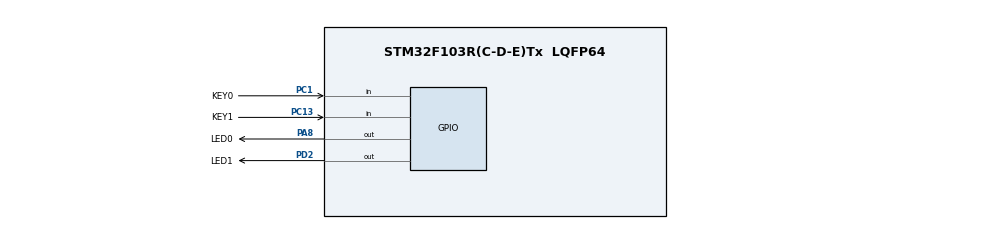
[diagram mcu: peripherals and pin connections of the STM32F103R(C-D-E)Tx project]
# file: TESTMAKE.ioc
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Mcu.Family=STM32F1
Mcu.Name=STM32F103R(C-D-E)Tx
Mcu.Package=LQFP64
NVIC.PriorityGroup=NVIC_PRIORITYGROUP_4
PA13.Mode=Serial_Wire
PA13.Signal=SYS_JTMS-SWDIO
PA14.Mode=Serial_Wire
PA14.Signal=SYS_JTCK-SWCLK
PA8.GPIO_Label=LED0
PA8.Signal=GPIO_Output
PC1.GPIO_Label=KEY0
PC1.GPIO_PuPd=GPIO_PULLUP
PC1.Signal=GPIO_Input
PC13-TAMPER-RTC.GPIO_Label=KEY1
PC13-TAMPER-RTC.GPIO_PuPd=GPIO_PULLUP
PC13-TAMPER-RTC.Signal=GPIO_Input
PD2.GPIO_Label=LED1
PD2.Signal=GPIO_Output
ProjectManager.HeapSize=0x200
ProjectManager.StackSize=0x400
ProjectManager.TargetToolchain=Makefile
RCC.APB1Freq_Value=8000000
RCC.APB2Freq_Value=8000000
RCC.USBFreq_Value=8000000
board=custom

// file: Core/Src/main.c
/* USER CODE BEGIN Header */
/**
  ******************************************************************************
  * @file           : main.c
  * @brief          : Main program body
  ******************************************************************************
  * @attention
  *
  * <h2><center>&copy; Copyright (c) 2021 STMicroelectronics.
  * All rights reserved.</center></h2>
  *
  * This software component is licensed by ST under BSD 3-Clause license,
  * the "License"; You may not use this file except in compliance with the
  * License. You may obtain a copy of the License at:
  *                        opensource.org/licenses/BSD-3-Clause
  *
  ******************************************************************************
  */
/* USER CODE END Header */
#include "main.h"

/* USER CODE BEGIN Includes */
#define LED0_Port GPIOA //port PA8, LED0
#define LED0_Pin GPIO_PIN_8

#define LED1_Port GPIOD //port PD2, LED1
#define LED1_Pin GPIO_PIN_2

#define KEY0_Port GPIOC //port PC1, KEY0
#define KEY0_Pin GPIO_PIN_1

#define KEY1_Port GPIOC //PC13, KEY1
#define KEY1_PiN GPIO_PIN13
/* USER CODE END Includes */

void SystemClock_Config(void);
static void MX_GPIO_Init(void);

int main(void)
{

  /* MCU Configuration--------------------------------------------------------*/

  /* Reset of all peripherals, Initializes the Flash interface and the Systick. */
  HAL_Init();

  /* Configure the system clock */
  SystemClock_Config();

  /* Initialize all configured peripherals */
  MX_GPIO_Init();

  /* Infinite loop */
  while (1)
  {
    /* USER CODE BEGIN 3 */
    int StatusKey0 = HAL_GPIO_ReadPin(KEY0_Port, KEY0_Pin);
    int StatusKey1 = HAL_GPIO_ReadPin(KEY1_Port, KEY1_Pin);
    // nhấn nút key0 led D0 sáng
    HAL_GPIO_WritePin(LED1_Port, LED1_Pin, SET);
    HAL_GPIO_WritePin(LED0_Port, LED0_Pin, SET);
    HAL_Delay(100);
    HAL_GPIO_WritePin(LED1_Port, LED1_Pin, RESET);
    HAL_GPIO_WritePin(LED0_Port, LED0_Pin, RESET);
    HAL_Delay(100);
   /* if (StatusKey0 == 1)
    {
      HAL_Delay(100);
      if (StatusKey0 == 1)
      {
        HAL_GPIO_WritePin(LED1_Port, LED1_Pin, SET);
      }
    }
    if (StatusKey0 == 0)
    {
      HAL_GPIO_WritePin(LED1_Port, LED1_Pin, RESET);
    }
    // nhấn nút key1 led D1 sáng
    if (StatusKey1 == 1)
    {
      HAL_Delay(100);
      if (StatusKey1 == 1)
      {
        HAL_GPIO_WritePin(LED0_Port, LED0_Pin, SET);
      }
    }
    if (StatusKey1 == 0)
    {
      HAL_GPIO_WritePin(LED0_Port, LED0_Pin, RESET);
    }
  */
 }
   //
   /* USER CODE END 3 */
}

void SystemClock_Config(void)
{
  RCC_OscInitTypeDef RCC_OscInitStruct = {0};
  RCC_ClkInitTypeDef RCC_ClkInitStruct = {0};

  /** Initializes the RCC Oscillators according to the specified parameters
  * in the RCC_OscInitTypeDef structure.
  */
  RCC_OscInitStruct.OscillatorType = RCC_OSCILLATORTYPE_HSI;
  RCC_OscInitStruct.HSIState = RCC_HSI_ON;
  RCC_OscInitStruct.HSICalibrationValue = RCC_HSICALIBRATION_DEFAULT;
  RCC_OscInitStruct.PLL.PLLState = RCC_PLL_NONE;
  if (HAL_RCC_OscConfig(&RCC_OscInitStruct) != HAL_OK)
  {
    Error_Handler();
  }
  /** Initializes the CPU, AHB and APB buses clocks
  */
  RCC_ClkInitStruct.ClockType = RCC_CLOCKTYPE_HCLK | RCC_CLOCKTYPE_SYSCLK | RCC_CLOCKTYPE_PCLK1 | RCC_CLOCKTYPE_PCLK2;
  RCC_ClkInitStruct.SYSCLKSource = RCC_SYSCLKSOURCE_HSI;
  RCC_ClkInitStruct.AHBCLKDivider = RCC_SYSCLK_DIV1;
  RCC_ClkInitStruct.APB1CLKDivider = RCC_HCLK_DIV1;
  RCC_ClkInitStruct.APB2CLKDivider = RCC_HCLK_DIV1;

  if (HAL_RCC_ClockConfig(&RCC_ClkInitStruct, FLASH_LATENCY_0) != HAL_OK)
  {
    Error_Handler();
  }
}

static void MX_GPIO_Init(void)
{
  GPIO_InitTypeDef GPIO_InitStruct = {0};

  /* GPIO Ports Clock Enable */
  __HAL_RCC_GPIOC_CLK_ENABLE();
  __HAL_RCC_GPIOA_CLK_ENABLE();
  __HAL_RCC_GPIOD_CLK_ENABLE();

  /*Configure GPIO pin Output Level */
  HAL_GPIO_WritePin(LED0_GPIO_Port, LED0_Pin, GPIO_PIN_RESET);

  /*Configure GPIO pin Output Level */
  HAL_GPIO_WritePin(LED1_GPIO_Port, LED1_Pin, GPIO_PIN_RESET);

  /*Configure GPIO pins : KEY1_Pin KEY0_Pin */
  GPIO_InitStruct.Pin = KEY1_Pin | KEY0_Pin;
  GPIO_InitStruct.Mode = GPIO_MODE_INPUT;
  GPIO_InitStruct.Pull = GPIO_PULLUP;
  HAL_GPIO_Init(GPIOC, &GPIO_InitStruct);

  /*Configure GPIO pin : LED0_Pin */
  GPIO_InitStruct.Pin = LED0_Pin;
  GPIO_InitStruct.Mode = GPIO_MODE_OUTPUT_PP;
  GPIO_InitStruct.Pull = GPIO_NOPULL;
  GPIO_InitStruct.Speed = GPIO_SPEED_FREQ_LOW;
  HAL_GPIO_Init(LED0_GPIO_Port, &GPIO_InitStruct);

  /*Configure GPIO pin : LED1_Pin */
  GPIO_InitStruct.Pin = LED1_Pin;
  GPIO_InitStruct.Mode = GPIO_MODE_OUTPUT_PP;
  GPIO_InitStruct.Pull = GPIO_NOPULL;
  GPIO_InitStruct.Speed = GPIO_SPEED_FREQ_LOW;
  HAL_GPIO_Init(LED1_GPIO_Port, &GPIO_InitStruct);
}

void Error_Handler(void)
{
  __disable_irq();
  while (1)
  {
  }
}

/************************ (C) COPYRIGHT STMicroelectronics *****END OF FILE****/
